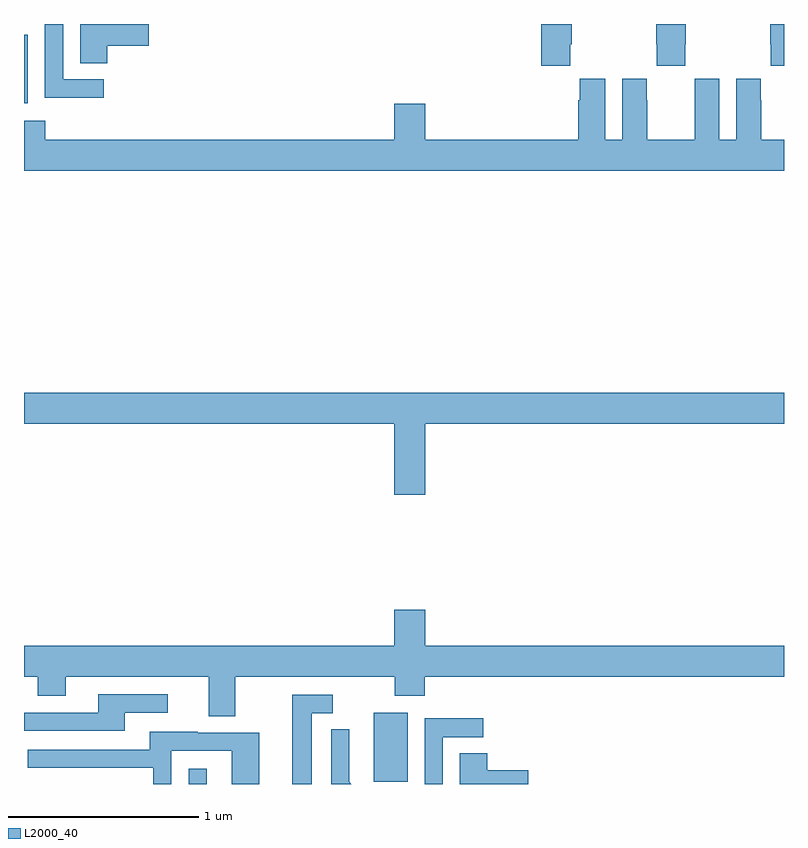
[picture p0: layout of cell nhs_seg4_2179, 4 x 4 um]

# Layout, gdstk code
import gdstk
lib = gdstk.Library(unit=1e-6, precision=1e-09)
def R(c, l, rs):  # rectangles x0, y0, x1, y1
    for r in rs: c.add(gdstk.rectangle(r[:2], r[2:], *l))
def P(c, l, *ps):  # polygons
    for p in ps: c.add(gdstk.Polygon(p, *l))
L2000_40 = (2000, 40)

nhs_seg4_2179 = lib.new_cell('nhs_seg4_2179')
R(nhs_seg4_2179, L2000_40, [(223.866,818.9,223.963,818.98), (224.84,818.913,225.019,819.274), (223,822.482,223.021,822.843)])
P(nhs_seg4_2179, L2000_40, [(223.42,822.609),(223.206,822.609),(223.206,822.9),(223.11,822.9),(223.11,822.511),(223.42,822.511)],
  [(225.875,822.793),(225.882,822.793),(225.882,822.9),(225.722,822.9),(225.722,822.681),(225.875,822.681)],
  [(226.479,822.793),(226.482,822.793),(226.482,822.9),(226.327,822.9),(226.327,822.793),(226.329,822.793),(226.329,822.681),(226.479,822.681)],
  [(227,822.9),(226.927,822.9),(226.927,822.793),(226.929,822.793),(226.929,822.681),(227,822.681)],
  [(223.439,822.785),(223.657,822.785),(223.657,822.9),(223.295,822.9),(223.295,822.694),(223.439,822.694)],
  [(227,822.292),(226.879,822.292),(226.879,822.5),(226.878,822.5),(226.878,822.613),(226.748,822.613),(226.748,822.292),(226.66,822.292),(226.66,822.613),(226.53,822.613),(226.53,822.5),(226.529,822.5),(226.529,822.292),(226.279,822.292),(226.279,822.5),(226.278,822.5),(226.278,822.613),(226.148,822.613),(226.148,822.292),(226.06,822.292),(226.06,822.613),(225.926,822.613),(225.926,822.5),(225.917,822.5),(225.917,822.292),(225.112,822.292),(225.112,822.481),(224.948,822.481),(224.948,822.292),(223.112,822.292),(223.112,822.391),(223,822.391),(223,822.128),(227,822.128)],
  [(225.112,820.796),(227,820.796),(227,820.96),(223,820.96),(223,820.796),(224.948,820.796),(224.948,820.422),(225.112,820.422)],
  [(224.113,819.464),(224.95,819.464),(224.95,819.365),(225.11,819.365),(225.11,819.464),(227,819.464),(227,819.628),(225.112,819.628),(225.112,819.817),(224.948,819.817),(224.948,819.628),(223,819.628),(223,819.464),(223.072,819.464),(223.072,819.365),(223.219,819.365),(223.219,819.464),(223.973,819.464),(223.973,819.256),(224.113,819.256)],
  [(223.531,819.276),(223.756,819.276),(223.756,819.372),(223.391,819.372),(223.391,819.276),(223,819.276),(223,819.18),(223.531,819.18)],
  [(224.515,819.273),(224.626,819.273),(224.626,819.369),(224.411,819.369),(224.411,818.9),(224.515,818.9)],
  [(225.204,819.147),(225.418,819.147),(225.418,819.246),(225.108,819.246),(225.108,818.9),(225.204,818.9)],
  [(224.711,818.912),(224.711,819.034),(224.712,819.034),(224.712,819.188),(224.616,819.188),(224.616,818.9),(224.723,818.9)],
  [(223.776,819.075),(224.094,819.075),(224.094,818.9),(224.239,818.9),(224.239,819.171),(223.915,819.171),(223.915,819.175),(223.661,819.175),(223.661,819.081),(223.021,819.081),(223.021,818.985),(223.68,818.985),(223.68,818.9),(223.776,818.9)],
  [(225.655,818.972),(225.437,818.972),(225.437,819.062),(225.293,819.062),(225.293,818.9),(225.655,818.9)])

lib.write_gds('nhs_seg4_2179.gds')
